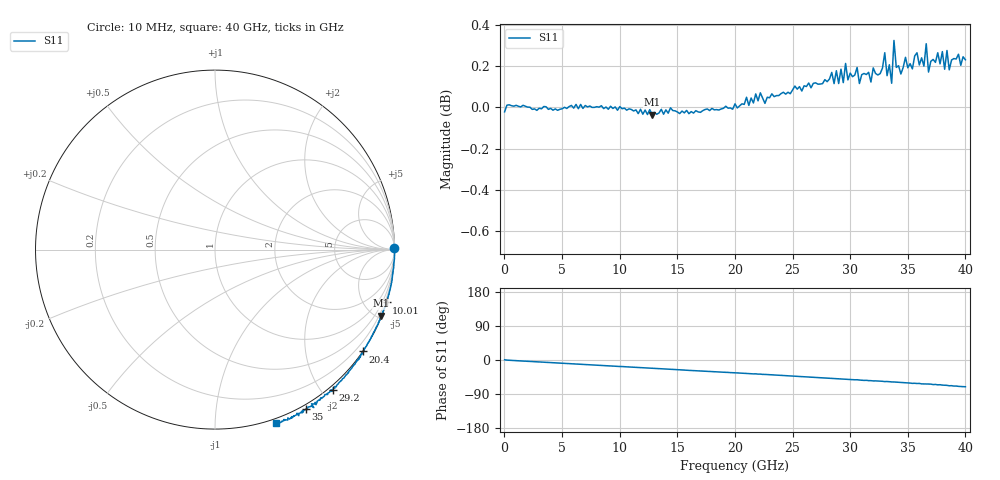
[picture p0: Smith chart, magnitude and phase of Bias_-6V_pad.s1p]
!Agilent Technologies,N5227A,US51270434,A.10.00.00
!Agilent N5227A: A.10.00.00
!Date: Wednesday, April 01, 2026 16:44:01
!Correction: S11(Full 1 Port(1))
!S1P File: Measurement: S11:
# Hz S  dB  R 50
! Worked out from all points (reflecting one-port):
!   201 points, 10 MHz to 40 GHz, reference 50 ohm
!   lowest |S11| = 0.0 dB at 12.81 GHz (marker M1), VSWR 495.23, Z = 2.84 - j260 ohm
!   phase of S11 starts at 1 deg and turns -71 deg over the sweep
!   S11 on the Smith chart (normalised r, x): 10 MHz: open; 10.01 GHz: -0.01, -6.64; 20.4 GHz: -0.00, -3.22; 29.2 GHz: -0.06, -2.15; 35 GHz: -0.04, -1.72; 40 GHz: -0.04, -1.41
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1e7  -0.02 0.6
6.0985e8  0.01 -1.1
5.00875e9  -0.01 -8.5
1.00075e10  0.00 -17.1
1.28068e10  -0.04 -21.7
1.500625e10  -0.02 -25.5
2.0005e10  0.02 -33.9
2.04049e10  0.01 -34.6
2.500375e10  0.09 -42.4
2.92027e10  0.19 -49.9
3.00025e10  0.17 -51.2
3.24019e10  0.16 -55.5
3.300175e10  0.27 -56.9
3.32017e10  0.15 -56.7
3.36016e10  0.12 -58.0
3.380155e10  0.33 -58.0
3.40015e10  0.19 -58.4
3.500125e10  0.19 -60.2
3.540115e10  0.19 -61.6
3.56011e10  0.25 -61.4
3.660085e10  0.31 -63.2
3.68008e10  0.17 -63.4
3.76006e10  0.27 -65.6
3.780055e10  0.21 -65.2
3.84004e10  0.28 -66.9
3.860035e10  0.18 -68.0
3.88003e10  0.23 -67.8
4e10  0.23 -70.6
